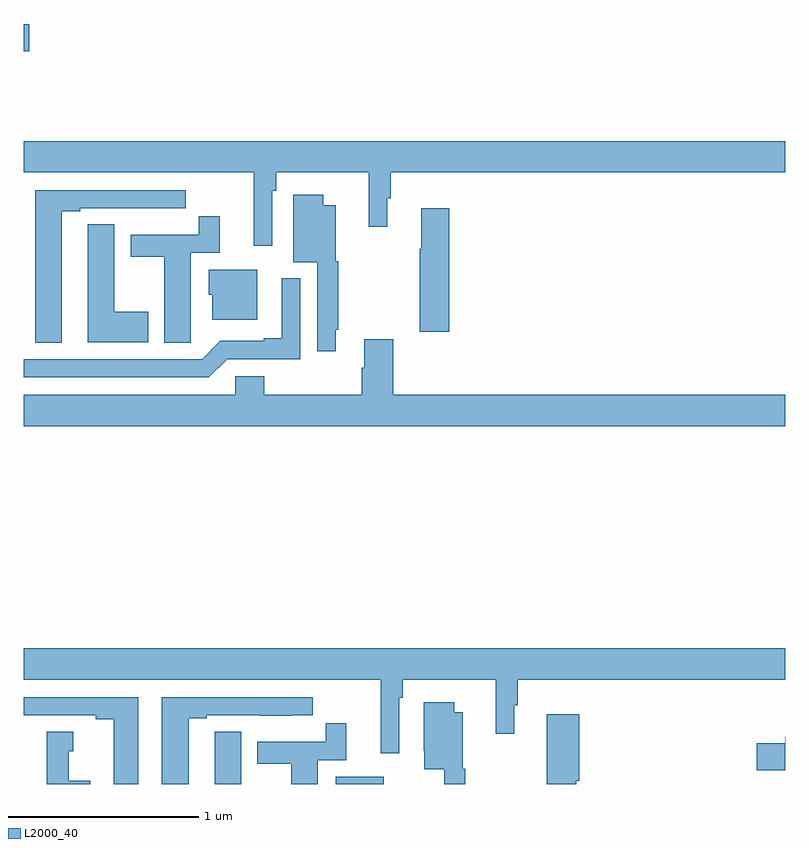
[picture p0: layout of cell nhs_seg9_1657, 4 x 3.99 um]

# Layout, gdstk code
import gdstk
lib = gdstk.Library(unit=1e-6, precision=1e-09)
def R(c, l, rs):  # rectangles x0, y0, x1, y1
    for r in rs: c.add(gdstk.rectangle(r[:2], r[2:], *l))
def P(c, l, *ps):  # polygons
    for p in ps: c.add(gdstk.Polygon(p, *l))
L2000_40 = (2000, 40)

nhs_seg9_1657 = lib.new_cell('nhs_seg9_1657')
R(nhs_seg9_1657, L2000_40, [(204.638,1234.5,204.892,1234.537), (203,1238.35,203.029,1238.492)])
P(nhs_seg9_1657, L2000_40, [(203,1237.712),(204.209,1237.712),(204.209,1237.326),(204.306,1237.326),(204.306,1237.616),(204.326,1237.616),(204.326,1237.712),(204.811,1237.712),(204.811,1237.428),(204.91,1237.428),(204.91,1237.578),(204.929,1237.578),(204.929,1237.712),(207,1237.712),(207,1237.876),(203,1237.876)],
  [(203.2,1237.509),(203.296,1237.509),(203.296,1237.524),(203.572,1237.524),(203.572,1237.523),(203.738,1237.523),(203.738,1237.524),(203.851,1237.524),(203.851,1237.62),(203.06,1237.62),(203.06,1236.817),(203.2,1236.817)],
  [(204.64,1236.886),(204.652,1236.886),(204.652,1237.245),(204.64,1237.245),(204.64,1237.54),(204.574,1237.54),(204.574,1237.594),(204.416,1237.594),(204.416,1237.241),(204.543,1237.241),(204.543,1236.774),(204.64,1236.774)],
  [(205.235,1237.525),(205.088,1237.525),(205.088,1237.312),(205.081,1237.312),(205.081,1236.876),(205.235,1236.876)],
  [(203.877,1236.928),(203.878,1236.928),(203.878,1237.29),(204.029,1237.29),(204.029,1237.483),(203.92,1237.483),(203.92,1237.386),(203.561,1237.386),(203.561,1237.27),(203.738,1237.27),(203.738,1236.817),(203.877,1236.817)],
  [(203.653,1236.981),(203.476,1236.981),(203.476,1237.439),(203.337,1237.439),(203.337,1237.331),(203.336,1237.331),(203.336,1236.821),(203.653,1236.821)],
  [(204.226,1237.201),(203.972,1237.201),(203.972,1237.071),(203.99,1237.071),(203.99,1236.938),(204.226,1236.938)],
  [(204.069,1236.732),(204.453,1236.732),(204.453,1237.156),(204.356,1237.156),(204.356,1236.841),(204.26,1236.841),(204.26,1236.828),(204.033,1236.828),(203.937,1236.732),(203,1236.732),(203,1236.636),(203.973,1236.636)],
  [(207,1236.544),(204.941,1236.544),(204.941,1236.835),(204.788,1236.835),(204.788,1236.686),(204.776,1236.686),(204.776,1236.544),(204.263,1236.544),(204.263,1236.642),(204.111,1236.642),(204.111,1236.544),(203,1236.544),(203,1236.38),(207,1236.38)],
  [(204.972,1234.952),(204.992,1234.952),(204.992,1235.048),(205.478,1235.048),(205.478,1234.764),(205.576,1234.764),(205.576,1234.914),(205.595,1234.914),(205.595,1235.048),(207,1235.048),(207,1235.212),(203,1235.212),(203,1235.048),(204.875,1235.048),(204.875,1234.662),(204.972,1234.662)],
  [(203.602,1234.956),(203,1234.956),(203,1234.86),(203.378,1234.86),(203.378,1234.84),(203.474,1234.84),(203.474,1234.5),(203.602,1234.5)],
  [(203.866,1234.845),(203.962,1234.845),(203.962,1234.86),(204.238,1234.86),(204.238,1234.859),(204.404,1234.859),(204.404,1234.86),(204.517,1234.86),(204.517,1234.956),(203.726,1234.956),(203.726,1234.5),(203.866,1234.5)],
  [(205.318,1234.581),(205.306,1234.581),(205.306,1234.876),(205.261,1234.876),(205.261,1234.93),(205.1,1234.93),(205.1,1234.674),(205.103,1234.674),(205.103,1234.577),(205.209,1234.577),(205.209,1234.5),(205.318,1234.5)],
  [(205.901,1234.518),(205.919,1234.518),(205.919,1234.867),(205.748,1234.867),(205.748,1234.518),(205.747,1234.518),(205.747,1234.5),(205.901,1234.5)],
  [(204.544,1234.626),(204.695,1234.626),(204.695,1234.819),(204.586,1234.819),(204.586,1234.722),(204.227,1234.722),(204.227,1234.606),(204.404,1234.606),(204.404,1234.5),(204.544,1234.5)],
  [(204.142,1234.775),(204.003,1234.775),(204.003,1234.667),(204.002,1234.667),(204.002,1234.5),(204.142,1234.5)],
  [(203.35,1234.516),(203.236,1234.516),(203.236,1234.671),(203.26,1234.671),(203.26,1234.774),(203.12,1234.774),(203.12,1234.5),(203.35,1234.5)],
  [(207,1234.747),(206.999,1234.747),(206.999,1234.713),(206.85,1234.713),(206.85,1234.571),(207,1234.571)])

lib.write_gds('nhs_seg9_1657.gds')
